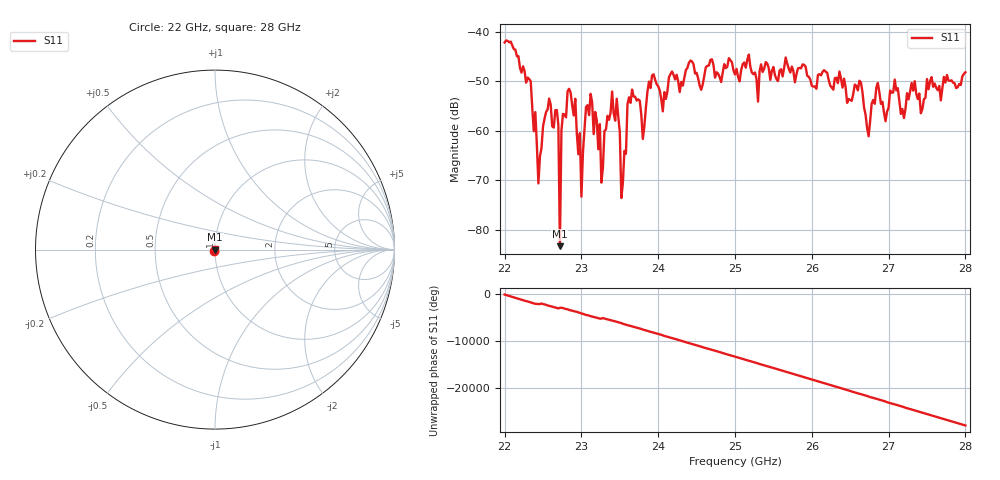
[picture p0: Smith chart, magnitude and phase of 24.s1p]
#  HZ  S  RI  R  50.00
! Rohde & Schwarz ZVA40 4Ports - Version 3.90 - 1145.1110k42 SN: 100403
! Date: 2023-10-04 10:29:46
! Measurement: S12
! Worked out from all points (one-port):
!   301 points, 22 GHz to 28 GHz, reference 50 ohm
!   lowest |S11| = -83.3 dB at 22.72 GHz (marker M1), VSWR 1.00, Z = 50 - j0.00683 ohm
!   |S11| at or under -10 dB: start of sweep to end of sweep
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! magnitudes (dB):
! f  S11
! 22 GHz  -42.1
! 22.34 GHz  -50.0
! 22.44 GHz  -70.6
! 22.58 GHz  -53.5
! 22.68 GHz  -55.8
! 22.7 GHz  -58.8
! 22.72 GHz  -83.3
! 22.74 GHz  -59.9
! 22.76 GHz  -56.6
! 22.92 GHz  -53.5
! 22.98 GHz  -60.5
! 23 GHz  -73.3
! 23.06 GHz  -55.2
! 23.12 GHz  -52.5
! 23.24 GHz  -58.6
! 23.26 GHz  -70.4
! 23.4 GHz  -52.0
! 23.5 GHz  -60.3
! 23.52 GHz  -73.5
! 23.66 GHz  -51.7
! 23.8 GHz  -61.6
! 23.92 GHz  -48.8
! 24.26 GHz  -50.0
! 25 GHz  -48.6
! 25.76 GHz  -47.9
! 26.5 GHz  -53.7
! 27.26 GHz  -53.6
! 28 GHz  -48.2
